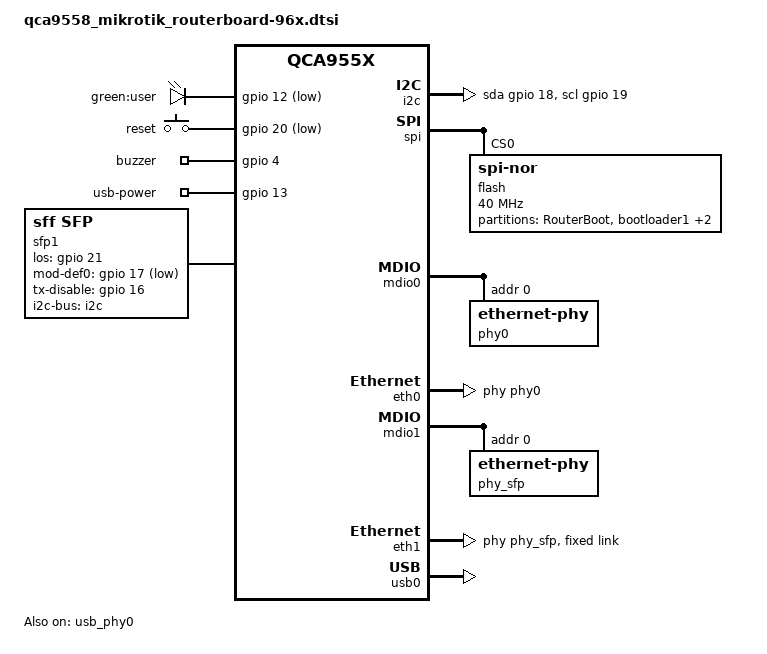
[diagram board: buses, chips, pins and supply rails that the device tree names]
// SPDX-License-Identifier: GPL-2.0-or-later OR MIT

#include "qca955x.dtsi"

#include <dt-bindings/gpio/gpio.h>
#include <dt-bindings/input/input.h>

/ {
	aliases {
		led-boot = &led_user;
		led-failsafe = &led_user;
		led-upgrade = &led_user;
	};

	leds {
		compatible = "gpio-leds";

		led_user: user {
			label = "green:user";
			gpios = <&gpio 12 GPIO_ACTIVE_LOW>;
		};
	};

	keys {
		compatible = "gpio-keys";

		reset {
			label = "reset";
			linux,code = <KEY_RESTART>;
			gpios = <&gpio 20 GPIO_ACTIVE_LOW>;
			debounce-interval = <60>;
		};
	};

	gpio-export {
		compatible = "gpio-export";

		buzzer {
			/* Beeper requires PWM for frequency selection */
			gpio-export,name = "buzzer";
			gpio-export,output = <0>;
			gpios = <&gpio 4 GPIO_ACTIVE_HIGH>;
		};

		usb_power {
			gpio-export,name = "usb-power";
			gpio-export,output = <0>;
			gpios = <&gpio 13 GPIO_ACTIVE_HIGH>;
		};
	};

	i2c: i2c {
		compatible = "i2c-gpio";

		sda-gpios = <&gpio 18 (GPIO_ACTIVE_HIGH|GPIO_OPEN_DRAIN)>;
		scl-gpios = <&gpio 19 (GPIO_ACTIVE_HIGH|GPIO_OPEN_DRAIN)>;
		i2c-gpio,delay-us = <5>;
		i2c-gpio,timeout-ms = <1>;
	};

	sfp1: sfp {
		compatible = "sff,sfp";

		i2c-bus = <&i2c>;
		maximum-power-milliwatt = <1000>;
		los-gpios = <&gpio 21 GPIO_ACTIVE_HIGH>;
		mod-def0-gpios = <&gpio 17 GPIO_ACTIVE_LOW>;
		tx-disable-gpios = <&gpio 16 GPIO_ACTIVE_HIGH>;
		// Toggling GPIO16 actually enables/disables the transmitter,
		// but the SFP driver does not seem to be using it.
	};
};

&spi {
	status = "okay";

	flash@0 {
		compatible = "jedec,spi-nor";
		reg = <0>;
		spi-max-frequency = <40000000>;

		partitions {
			compatible = "fixed-partitions";
			#address-cells = <1>;
			#size-cells = <1>;

			partition@0 {
				label = "RouterBoot";
				reg = <0x0 0x20000>;
				compatible = "mikrotik,routerboot-partitions";
				#address-cells = <1>;
				#size-cells = <1>;

				partition@0 {
					label = "bootloader1";
					reg = <0x0 0x0>;
					read-only;
				};

				hard_config {
					read-only;
				};

				bios {
					size = <0x1000>;
					read-only;
				};

				partition@10000 {
					label = "bootloader2";
					reg = <0x10000 0x0>;
					read-only;
				};

				soft_config {
				};
			};

			partition@20000 {
				compatible = "mikrotik,minor";
				label = "firmware";
				reg = <0x020000 0xfe0000>;
			};
		};
	};
};

&mdio0 {
	status = "okay";

	phy0: ethernet-phy@0 {
		reg = <0>;

		qca,ar8327-initvals = <
			/* PAD0_MODE from vendor firmware
			 * RGMII_EN, TX/RXCLK_DELAY_EN, TXCLK_DELAY_SEL=1
			 */
			0x04 0x07400000 /* PAD0_MODE */
			0x50 0xc737c737 /* LED_CTRL0 */
			0x54 0x00000000 /* LED_CTRL1 */
			0x58 0x00000000 /* LED_CTRL2 */
			0x5c 0x0030c300 /* LED_CTRL3 */
			0x7c 0x0000007e /* PORT0_STATUS */
			>;
	};
};

&eth0 {
	status = "okay";

	phy-handle = <&phy0>;
	/* gigabit pll-data from vendor firmware
	 * TX_INVERT, TX_DELAY=3, GIGE, OFFSET_PHASE
	 */
	pll-data = <0x8f000000 0x00000101 0x00001616>;

	gmac-config {
		device = <&gmac>;
		rgmii-enabled = <1>;
	};
};

&mdio1 {
	status = "okay";

	phy_sfp: ethernet-phy@0 {
		reg = <0>;
		phy-mode = "sgmii";
		sfp = <&sfp1>;
	};
};

&eth1 {
	status = "okay";

	phy-handle = <&phy_sfp>;
	pll-data = <0x03000000 0x00000101 0x00001616>;
	qca955x-sgmii-fixup;

	gmac-config {
		device = <&gmac>;
	};

	fixed-link {
		speed = <1000>;
		full-duplex;
	};
};

&usb0 {
	status = "okay";
};

&usb_phy0 {
	status = "okay";
};
